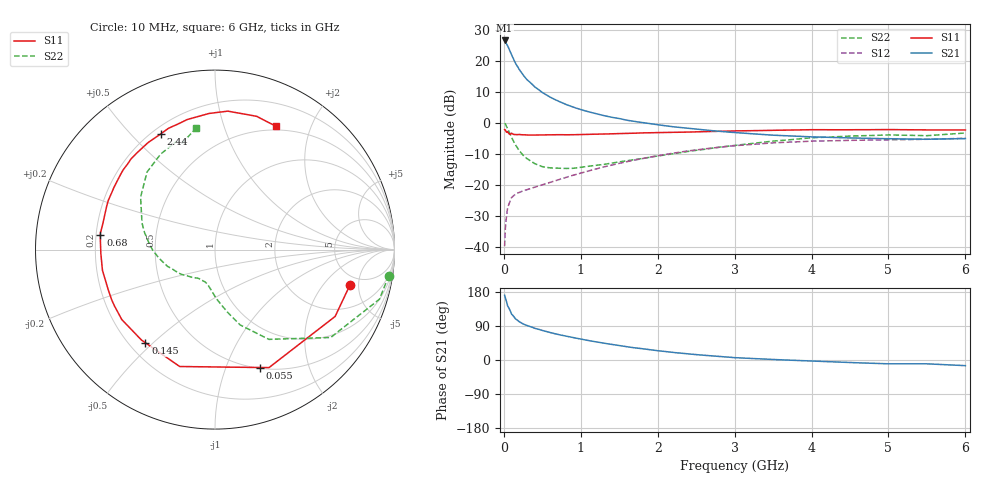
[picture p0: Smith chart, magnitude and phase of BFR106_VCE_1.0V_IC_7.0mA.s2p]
! Infineon Technologies  Discrete & RF Semiconductors
! BFR106
! VCE =  1.0 V,  IC =  7.0 mA
! Common Emitter S-Parameters:  Nov 2015
# GHz  S  MA  R  50
!  f  S11  S21  S12  S22
! GHz  MAG  ANG  MAG  ANG  MAG  ANG  MAG  ANG
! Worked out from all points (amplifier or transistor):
!   210 points, 10 MHz to 6 GHz, reference 50 ohm
!   highest |S21| = 26.5 dB at 10 MHz (marker M1)
!   |S21| within 3 dB of that: start of sweep to 71.37 MHz
!   unconditionally stable (mu >= 1): 519.5 MHz to 2.944 GHz; 3.092 GHz to 3.435 GHz; 3.546 GHz to end of sweep
!   at 185 MHz: K = 0.47, MSG = 20.2 dB, |S12| = -22.6 dB
!   at 1.52 GHz: K = 1.13, MAG = 4.9 dB, |S12| = -12.9 dB
!   at 6 GHz: K = 1.03, MAG = -1.1 dB, |S12| = -5.0 dB
!   S11 on the Smith chart (normalised r, x): 10 MHz: 3.91, -3.92; 55 MHz: 0.51, -1.32; 145 MHz: 0.26, -0.47; 680 MHz: 0.22, +0.06; 2.44 GHz: 0.23, +0.61; 6 GHz: 0.45, +1.51
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0.01  0.7772 -14.8  21.22 170.8  0.0103 84.2  0.9793 -8.5
0.02  0.7659 -29.1  20.58 163.3  0.0201 75.5  0.957 -16.8
0.05  0.723 -65.4  17.35 142.3  0.0433 59.2  0.8098 -37.2
0.055  0.7032 -69.1  16.78 140.8  0.045 57.2  0.7833 -38.8
0.1  0.6804 -106.8  12.46 121.2  0.0625 44.6  0.5836 -59.0
0.145  0.648 -126.8  9.469 110.3  0.0702 38.5  0.4558 -69.9
0.15  0.6495 -129.1  9.165 108.7  0.0711 37.9  0.4429 -71.5
0.2  0.6493 -143.1  7.244 101.0  0.0756 36.4  0.3565 -78.6
0.24  0.6421 -150.8  6.16 96.4  0.0793 36.3  0.3094 -83.5
0.3  0.6356 -159.3  4.971 90.8  0.0836 37.4  0.2658 -89.4
0.4  0.6376 -169.6  3.81 83.8  0.0918 39.8  0.2203 -96.6
0.5  0.6363 -176.8  3.08 77.8  0.1001 42.8  0.1967 -102.4
0.68  0.6435 172.9  2.324 68.6  0.1178 47.1  0.1862 -111.2
0.8  0.6413 167.8  1.99 63.3  0.1315 49.1  0.184 -117.0
1.02  0.6494 158.6  1.606 54.4  0.1574 51.7  0.1934 -125.6
1.4  0.6644 145.4  1.228 41.3  0.2081 52.2  0.2244 -140.8
2.02  0.6948 126.7  0.923 24.1  0.2979 47.0  0.2947 -165.4
2.44  0.7117 115.2  0.807 15.3  0.3583 41.2  0.3529 178.8
3.1  0.7429 100.1  0.683 5.3  0.4366 30.1  0.4453 156.5
4.1  0.7735 83.4  0.589 -3.5  0.5089 13.6  0.5803 128.8
5.1  0.7756 71.6  0.552 -10.1  0.5343 0.6  0.6348 109.4
6  0.7672 63.7  0.557 -14.9  0.564 -8.6  0.6861 98.7
